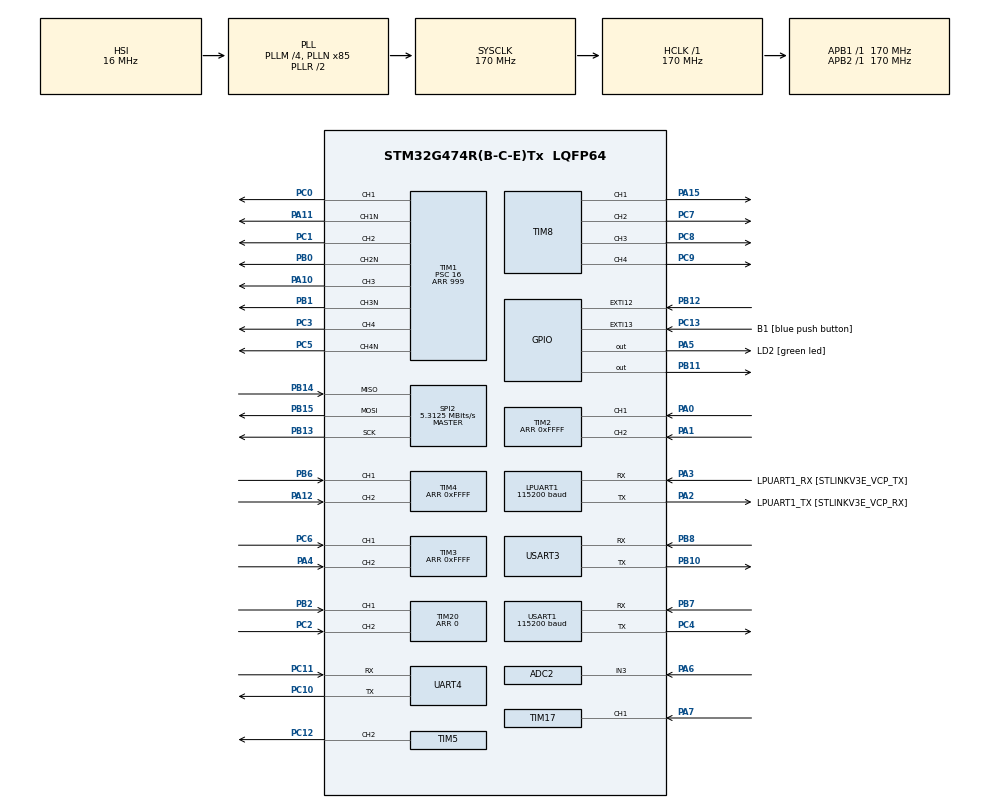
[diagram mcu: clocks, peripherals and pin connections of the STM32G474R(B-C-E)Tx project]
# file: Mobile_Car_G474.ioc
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ADC2.Channel-0\#ChannelRegularConversion=ADC_CHANNEL_3
ADC2.ContinuousConvMode=ENABLE
ADC2.DMAContinuousRequests=ENABLE
ADC2.NbrOfConversionFlag=1
ADC2.OffsetNumber-0\#ChannelRegularConversion=ADC_OFFSET_NONE
ADC2.Rank-0\#ChannelRegularConversion=1
ADC2.SamplingTime-0\#ChannelRegularConversion=ADC_SAMPLETIME_2CYCLES_5
Dma.ADC2.0.Direction=DMA_PERIPH_TO_MEMORY
Dma.ADC2.0.EventEnable=DISABLE
Dma.ADC2.0.Instance=DMA1_Channel1
Dma.ADC2.0.MemDataAlignment=DMA_MDATAALIGN_WORD
Dma.ADC2.0.MemInc=DMA_MINC_ENABLE
Dma.ADC2.0.Mode=DMA_CIRCULAR
Dma.ADC2.0.PeriphDataAlignment=DMA_PDATAALIGN_HALFWORD
Dma.ADC2.0.PeriphInc=DMA_PINC_DISABLE
Dma.ADC2.0.Polarity=HAL_DMAMUX_REQ_GEN_RISING
Dma.ADC2.0.Priority=DMA_PRIORITY_LOW
Dma.ADC2.0.RequestNumber=1
Dma.ADC2.0.SignalID=NONE
Dma.ADC2.0.SyncEnable=DISABLE
Dma.ADC2.0.SyncPolarity=HAL_DMAMUX_SYNC_NO_EVENT
Dma.ADC2.0.SyncRequestNumber=1
Dma.ADC2.0.SyncSignalID=NONE
Dma.Request0=ADC2
LPUART1.BaudRate=115200
Mcu.Family=STM32G4
Mcu.Name=STM32G474R(B-C-E)Tx
Mcu.Package=LQFP64
NVIC.DMA1_Channel1_IRQn=true\:0\:0\:false\:false\:true\:false\:true\:true
NVIC.EXTI15_10_IRQn=true\:0\:0\:false\:false\:true\:true\:true\:true
NVIC.LPUART1_IRQn=true\:0\:0\:false\:false\:true\:true\:true\:true
NVIC.PriorityGroup=NVIC_PRIORITYGROUP_4
NVIC.USART1_IRQn=true\:0\:0\:false\:false\:true\:true\:true\:true
PA0.Signal=S_TIM2_CH1
PA1.Signal=S_TIM2_CH2
PA10.Signal=S_TIM1_CH3
PA11.Mode=PWM Generation1 CH1 CH1N
PA11.Signal=TIM1_CH1N
PA12.Signal=S_TIM4_CH2
PA13.GPIO_Label=T_SWDIO
PA13.Mode=Serial_Wire
PA13.Signal=SYS_JTMS-SWDIO
PA14.GPIO_Label=T_SWCLK
PA14.Mode=Serial_Wire
PA14.Signal=SYS_JTCK-SWCLK
PA15.Signal=S_TIM8_CH1
PA2.GPIO_Label=LPUART1_TX [STLINKV3E_VCP_RX]
PA2.Mode=Asynchronous
PA2.Signal=LPUART1_TX
PA3.GPIO_Label=LPUART1_RX [STLINKV3E_VCP_TX]
PA3.Mode=Asynchronous
PA3.Signal=LPUART1_RX
PA4.Signal=S_TIM3_CH2
PA5.GPIO_Label=LD2 [green led]
PA5.Signal=GPIO_Output
PA6.Mode=IN3-Single-Ended
PA6.Signal=ADC2_IN3
PA7.Signal=S_TIM17_CH1
PB0.Mode=PWM Generation2 CH2 CH2N
PB0.Signal=TIM1_CH2N
PB1.Mode=PWM Generation3 CH3 CH3N
PB1.Signal=TIM1_CH3N
PB10.Mode=Asynchronous
PB10.Signal=USART3_TX
PB11.Signal=GPIO_Output
PB12.Signal=GPXTI12
PB13.Mode=Full_Duplex_Master
PB13.Signal=SPI2_SCK
PB14.Mode=Full_Duplex_Master
PB14.Signal=SPI2_MISO
PB15.Mode=Full_Duplex_Master
PB15.Signal=SPI2_MOSI
PB2.Mode=Encoder_Interface
PB2.Signal=TIM20_CH1
PB3.GPIO_Label=T_SWO
PB3.Signal=SYS_JTDO-SWO
PB6.Signal=S_TIM4_CH1
PB7.Mode=Asynchronous
PB7.Signal=USART1_RX
PB8-BOOT0.Mode=Asynchronous
PB8-BOOT0.Signal=USART3_RX
PC0.Signal=S_TIM1_CH1
PC1.Signal=S_TIM1_CH2
PC10.Mode=Asynchronous
PC10.Signal=UART4_TX
PC11.Mode=Asynchronous
PC11.Signal=UART4_RX
PC12.Signal=S_TIM5_CH2
PC13.GPIO_Label=B1 [blue push button]
PC13.Signal=GPXTI13
PC14-OSC32_IN.Mode=LSE-External-Oscillator
PC14-OSC32_IN.Signal=RCC_OSC32_IN
PC15-OSC32_OUT.Mode=LSE-External-Oscillator
PC15-OSC32_OUT.Signal=RCC_OSC32_OUT
PC2.Signal=S_TIM20_CH2
PC3.Signal=S_TIM1_CH4
PC4.Mode=Asynchronous
PC4.Signal=USART1_TX
PC5.Mode=PWM Generation4 CH4 CH4N
PC5.Signal=TIM1_CH4N
PC6.Signal=S_TIM3_CH1
PC7.Signal=S_TIM8_CH2
PC8.Signal=S_TIM8_CH3
PC9.Signal=S_TIM8_CH4
PF0-OSC_IN.Mode=HSE-External-Oscillator
PF0-OSC_IN.Signal=RCC_OSC_IN
PF1-OSC_OUT.Mode=HSE-External-Oscillator
PF1-OSC_OUT.Signal=RCC_OSC_OUT
ProjectManager.HeapSize=0x200
ProjectManager.StackSize=0x400
ProjectManager.TargetToolchain=STM32CubeIDE
RCC.ADC12Freq_Value=170000000
RCC.ADC345Freq_Value=170000000
RCC.AHBFreq_Value=170000000
RCC.APB1Freq_Value=170000000
RCC.APB1TimFreq_Value=170000000
RCC.APB2Freq_Value=170000000
RCC.APB2TimFreq_Value=170000000
RCC.CortexFreq_Value=170000000
RCC.EXTERNAL_CLOCK_VALUE=12288000
RCC.HCLKFreq_Value=170000000
RCC.HSE_VALUE=24000000
RCC.HSI48_VALUE=48000000
RCC.HSI_VALUE=16000000
RCC.PLLM=RCC_PLLM_DIV4
RCC.PLLN=85
RCC.RTCClockSelection=RCC_RTCCLKSOURCE_LSE
RCC.SYSCLKFreq_VALUE=170000000
RCC.SYSCLKSource=RCC_SYSCLKSOURCE_PLLCLK
RCC.USBFreq_Value=170000000
RCC.VCOOutputFreq_Value=340000000
SH.S_TIM17_CH1.0=TIM17_CH1,Input_Capture1_from_TI1
SH.S_TIM1_CH1.0=TIM1_CH1,PWM Generation1 CH1 CH1N
SH.S_TIM1_CH2.0=TIM1_CH2,PWM Generation2 CH2 CH2N
SH.S_TIM1_CH3.0=TIM1_CH3,PWM Generation3 CH3 CH3N
SH.S_TIM1_CH4.0=TIM1_CH4,PWM Generation4 CH4 CH4N
SH.S_TIM20_CH2.0=TIM20_CH2,Encoder_Interface
SH.S_TIM2_CH1.0=TIM2_CH1,Encoder_Interface
SH.S_TIM2_CH2.0=TIM2_CH2,Encoder_Interface
SH.S_TIM3_CH1.0=TIM3_CH1,Encoder_Interface
SH.S_TIM3_CH2.0=TIM3_CH2,Encoder_Interface
SH.S_TIM4_CH1.0=TIM4_CH1,Encoder_Interface
SH.S_TIM4_CH2.0=TIM4_CH2,Encoder_Interface
SH.S_TIM5_CH2.0=TIM5_CH2,PWM Generation2 CH2
SH.S_TIM8_CH1.0=TIM8_CH1,PWM Generation1 CH1
SH.S_TIM8_CH2.0=TIM8_CH2,PWM Generation2 CH2
SH.S_TIM8_CH3.0=TIM8_CH3,PWM Generation3 CH3
SH.S_TIM8_CH4.0=TIM8_CH4,PWM Generation4 CH4
SPI2.BaudRatePrescaler=SPI_BAUDRATEPRESCALER_32
SPI2.CalculateBaudRate=5.3125 MBits/s
SPI2.DataSize=SPI_DATASIZE_8BIT
SPI2.Direction=SPI_DIRECTION_2LINES
SPI2.Mode=SPI_MODE_MASTER
SPI2.NSSPMode=SPI_NSS_PULSE_ENABLE
SPI2.VirtualType=VM_MASTER
TIM1.Channel-PWM\ Generation1\ CH1\ CH1N=TIM_CHANNEL_1
TIM1.Channel-PWM\ Generation2\ CH2\ CH2N=TIM_CHANNEL_2
TIM1.Channel-PWM\ Generation3\ CH3\ CH3N=TIM_CHANNEL_3
TIM1.Channel-PWM\ Generation4\ CH4\ CH4N=TIM_CHANNEL_4
TIM1.PeriodNoDither=999
TIM1.Prescaler=16
TIM1.PulseNoDither_1=499
TIM1.PulseNoDither_2=499
TIM1.PulseNoDither_3=499
TIM1.PulseNoDither_4=499
TIM17.Channel=TIM_CHANNEL_1
TIM17.Prescaler=169
TIM2.PeriodNoDither=0xFFFF
TIM20.PeriodNoDither=0
TIM20.RepetitionCounter=0xFFFF
TIM3.PeriodNoDither=0xFFFF
TIM4.PeriodNoDither=0xFFFF
TIM5.Channel-PWM\ Generation2\ CH2=TIM_CHANNEL_2
TIM8.Channel-PWM\ Generation1\ CH1=TIM_CHANNEL_1
TIM8.Channel-PWM\ Generation2\ CH2=TIM_CHANNEL_2
TIM8.Channel-PWM\ Generation3\ CH3=TIM_CHANNEL_3
TIM8.Channel-PWM\ Generation4\ CH4=TIM_CHANNEL_4
USART1.BaudRate=115200
USART1.VirtualMode-Asynchronous=VM_ASYNC
USART3.VirtualMode-Asynchronous=VM_ASYNC
VP_SYS_VS_DBSignals.Mode=DisableDeadBatterySignals
VP_TIM17_VS_ClockSourceINT.Mode=Enable_Timer
board=NUCLEO-G474RE

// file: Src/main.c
/* USER CODE BEGIN Header */
/**
 ******************************************************************************
 * @file           : main.c
 * @brief          : Main program body
 ******************************************************************************
 * @attention
 *
 * Copyright (c) 2023 STMicroelectronics.
 * All rights reserved.
 *
 * This software is licensed under terms that can be found in the LICENSE file
 * in the root directory of this software component.
 * If no LICENSE file comes with this software, it is provided AS-IS.
 *
 ******************************************************************************
 */
/* USER CODE END Header */
#include "main.h"
#include "adc.h"
#include "dma.h"
#include "gpio.h"
#include "spi.h"
#include "tim.h"
#include "usart.h"

/* USER CODE BEGIN Includes */
#include "components/battery.h"
#include "components/data_trans.h"
#include "components/icm20602.h"
#include "components/motor.h"
#include "components/retarget.h"
#include "components/scheduler.h"
#include "components/sensor_basic.h"
#include "components/user_ctrl.h"
#include "stdio.h"
#include "stm32g4xx_hal.h"

/* USER CODE END Includes */

void SystemClock_Config(void);

/* USER CODE BEGIN 0 */
/**
 * @brief 重定向printf函数
 * @param  ch 字符
 * @param  f 文件指针
 * @retval 字符
 */
int fputc(int ch, FILE *f) {
  HAL_UART_Transmit(&hlpuart1, (uint8_t *)&ch, 1, 0xFFFF);
  return ch;
}
/* USER CODE END 0 */

int main(void) {

  /* MCU Configuration--------------------------------------------------------*/

  /* Reset of all peripherals, Initializes the Flash interface and the Systick.
   */
  HAL_Init();

  /* Configure the system clock */
  SystemClock_Config();

  /* Initialize all configured peripherals */
  MX_GPIO_Init();
  MX_DMA_Init();
  MX_LPUART1_UART_Init();
  MX_USART1_UART_Init();
  MX_TIM1_Init();
  MX_TIM2_Init();
  MX_TIM3_Init();
  MX_TIM4_Init();
  MX_TIM20_Init();
  MX_ADC2_Init();
  MX_SPI2_Init();
  MX_UART4_Init();
  MX_USART3_UART_Init();
  MX_TIM5_Init();
  MX_TIM8_Init();
  MX_TIM17_Init();
  /* USER CODE BEGIN 2 */

  // CCR 捕获/比较寄存器
  TIM1->CCR1 = 500; // 0~1000,小于500反转，大于500正转
  TIM1->CCR2 = 500; // 0~1000,小于500反转，大于500正转
  TIM1->CCR3 = 500; // 0~1000,小于500反转，大于500正转
  TIM1->CCR4 = 500; // 0~1000,小于500反转，大于500正转

  /* 开始输出PWM */
  HAL_TIM_PWM_Start(&htim1, TIM_CHANNEL_1);
  HAL_TIM_PWM_Start(&htim1, TIM_CHANNEL_2);
  HAL_TIM_PWM_Start(&htim1, TIM_CHANNEL_3);
  HAL_TIM_PWM_Start(&htim1, TIM_CHANNEL_4);
  HAL_TIMEx_PWMN_Start(&htim1, TIM_CHANNEL_1);
  HAL_TIMEx_PWMN_Start(&htim1, TIM_CHANNEL_2);
  HAL_TIMEx_PWMN_Start(&htim1, TIM_CHANNEL_3);
  HAL_TIMEx_PWMN_Start(&htim1, TIM_CHANNEL_4);

  /* 开启编码器 */
  HAL_TIM_Base_Start(&htim2);
  HAL_TIM_Base_Start(&htim3);
  HAL_TIM_Base_Start(&htim4);
  HAL_TIM_Base_Start(&htim20);
  HAL_TIM_Encoder_Start(&htim2, TIM_CHANNEL_ALL);
  HAL_TIM_Encoder_Start(&htim3, TIM_CHANNEL_ALL);
  HAL_TIM_Encoder_Start(&htim4, TIM_CHANNEL_ALL);
  HAL_TIM_Encoder_Start(&htim20, TIM_CHANNEL_ALL);

  // 开启ppm

  HAL_TIM_Base_Start(&htim17);
  HAL_TIM_IC_Start_IT(&htim17, TIM_CHANNEL_1);

  HAL_Delay(50);

  // 初始化ICM20602
  ICM20602_Initialization();

  // 初始化运动学模型
  Kinematics_Init();

  // 初始化PID参数
  PID_Init();

  Battery_Init();
  RetargetInit(&hlpuart1);
  HAL_UART_Receive_IT(&hlpuart1, data_one_byte, 1);
  HAL_UART_Receive_IT(&huart1, data_one_byte, 1);
  /* USER CODE END 2 */

  /* Infinite loop */
  /* USER CODE BEGIN WHILE */
  while (1) {
    Main_Task();
    /* USER CODE END WHILE */

  }
}

void SystemClock_Config(void) {
  RCC_OscInitTypeDef RCC_OscInitStruct = {0};
  RCC_ClkInitTypeDef RCC_ClkInitStruct = {0};

  /** Configure the main internal regulator output voltage
   */
  HAL_PWREx_ControlVoltageScaling(PWR_REGULATOR_VOLTAGE_SCALE1_BOOST);

  /** Initializes the RCC Oscillators according to the specified parameters
   * in the RCC_OscInitTypeDef structure.
   */
  RCC_OscInitStruct.OscillatorType = RCC_OSCILLATORTYPE_HSI;
  RCC_OscInitStruct.HSIState = RCC_HSI_ON;
  RCC_OscInitStruct.HSICalibrationValue = RCC_HSICALIBRATION_DEFAULT;
  RCC_OscInitStruct.PLL.PLLState = RCC_PLL_ON;
  RCC_OscInitStruct.PLL.PLLSource = RCC_PLLSOURCE_HSI;
  RCC_OscInitStruct.PLL.PLLM = RCC_PLLM_DIV4;
  RCC_OscInitStruct.PLL.PLLN = 85;
  RCC_OscInitStruct.PLL.PLLP = RCC_PLLP_DIV2;
  RCC_OscInitStruct.PLL.PLLQ = RCC_PLLQ_DIV2;
  RCC_OscInitStruct.PLL.PLLR = RCC_PLLR_DIV2;
  if (HAL_RCC_OscConfig(&RCC_OscInitStruct) != HAL_OK) {
    Error_Handler();
  }

  /** Initializes the CPU, AHB and APB buses clocks
   */
  RCC_ClkInitStruct.ClockType = RCC_CLOCKTYPE_HCLK | RCC_CLOCKTYPE_SYSCLK |
                                RCC_CLOCKTYPE_PCLK1 | RCC_CLOCKTYPE_PCLK2;
  RCC_ClkInitStruct.SYSCLKSource = RCC_SYSCLKSOURCE_PLLCLK;
  RCC_ClkInitStruct.AHBCLKDivider = RCC_SYSCLK_DIV1;
  RCC_ClkInitStruct.APB1CLKDivider = RCC_HCLK_DIV1;
  RCC_ClkInitStruct.APB2CLKDivider = RCC_HCLK_DIV1;

  if (HAL_RCC_ClockConfig(&RCC_ClkInitStruct, FLASH_LATENCY_4) != HAL_OK) {
    Error_Handler();
  }
}

void Error_Handler(void) {
  __disable_irq();
  while (1) {
  }
}

#ifdef USE_FULL_ASSERT
/**
 * @brief  Reports the name of the source file and the source line number
 *         where the assert_param error has occurred.
 * @param  file: pointer to the source file name
 * @param  line: assert_param error line source number
 * @retval None
 */
void assert_failed(uint8_t *file, uint32_t line) {
  /* USER CODE BEGIN 6 */
  /* User can add his own implementation to report the file name and line
     number, ex: printf("Wrong parameters value: file %s on line %d\r\n", file,
     line) */
  /* USER CODE END 6 */
}
#endif /* USE_FULL_ASSERT */
